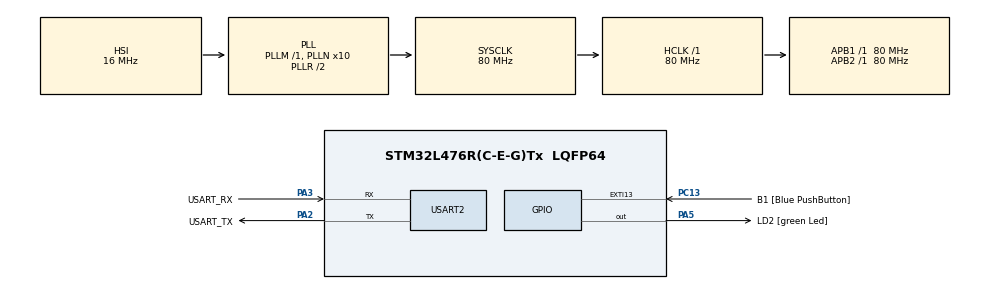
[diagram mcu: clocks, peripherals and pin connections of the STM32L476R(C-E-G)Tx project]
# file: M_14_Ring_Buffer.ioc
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Mcu.Family=STM32L4
Mcu.Name=STM32L476R(C-E-G)Tx
Mcu.Package=LQFP64
NVIC.PriorityGroup=NVIC_PRIORITYGROUP_4
NVIC.USART2_IRQn=true\:0\:0\:false\:false\:true\:true\:true\:true
PA13\ (JTMS-SWDIO).GPIO_Label=TMS
PA13\ (JTMS-SWDIO).Mode=Serial_Wire
PA13\ (JTMS-SWDIO).Signal=SYS_JTMS-SWDIO
PA14\ (JTCK-SWCLK).GPIO_Label=TCK
PA14\ (JTCK-SWCLK).Mode=Serial_Wire
PA14\ (JTCK-SWCLK).Signal=SYS_JTCK-SWCLK
PA2.GPIO_Label=USART_TX
PA2.GPIO_Mode=GPIO_MODE_AF_PP
PA2.GPIO_PuPd=GPIO_NOPULL
PA2.GPIO_Speed=GPIO_SPEED_FREQ_VERY_HIGH
PA2.Mode=Asynchronous
PA2.Signal=USART2_TX
PA3.GPIO_Label=USART_RX
PA3.GPIO_Mode=GPIO_MODE_AF_PP
PA3.GPIO_PuPd=GPIO_NOPULL
PA3.GPIO_Speed=GPIO_SPEED_FREQ_VERY_HIGH
PA3.Mode=Asynchronous
PA3.Signal=USART2_RX
PA5.GPIO_Label=LD2 [green Led]
PA5.GPIO_ModeDefaultOutputPP=GPIO_MODE_OUTPUT_PP
PA5.GPIO_PuPd=GPIO_NOPULL
PA5.GPIO_Speed=GPIO_SPEED_FREQ_LOW
PA5.Signal=GPIO_Output
PB3\ (JTDO-TRACESWO).GPIO_Label=SWO
PB3\ (JTDO-TRACESWO).Signal=SYS_JTDO-SWO
PC13.GPIO_Label=B1 [Blue PushButton]
PC13.GPIO_ModeDefaultEXTI=GPIO_MODE_IT_FALLING
PC13.GPIO_PuPd=GPIO_NOPULL
PC13.Signal=GPXTI13
PC14-OSC32_IN\ (PC14).Mode=LSE-External-Oscillator
PC14-OSC32_IN\ (PC14).Signal=RCC_OSC32_IN
PC15-OSC32_OUT\ (PC15).Mode=LSE-External-Oscillator
PC15-OSC32_OUT\ (PC15).Signal=RCC_OSC32_OUT
PH0-OSC_IN\ (PH0).Signal=RCC_OSC_IN
PH1-OSC_OUT\ (PH1).Signal=RCC_OSC_OUT
ProjectManager.HeapSize=0x200
ProjectManager.StackSize=0x400
ProjectManager.TargetToolchain=STM32CubeIDE
RCC.ADCFreq_Value=64000000
RCC.AHBFreq_Value=80000000
RCC.APB1Freq_Value=80000000
RCC.APB1TimFreq_Value=80000000
RCC.APB2Freq_Value=80000000
RCC.APB2TimFreq_Value=80000000
RCC.CortexFreq_Value=80000000
RCC.HCLKFreq_Value=80000000
RCC.HSE_VALUE=8000000
RCC.HSI_VALUE=16000000
RCC.MSI_VALUE=4000000
RCC.PLLN=10
RCC.PLLSourceVirtual=RCC_PLLSOURCE_HSI
RCC.PREFETCH_ENABLE=1
RCC.SYSCLKFreq_VALUE=80000000
RCC.SYSCLKSource=RCC_SYSCLKSOURCE_PLLCLK
RCC.USBFreq_Value=64000000
RCC.VCOOutputFreq_Value=160000000
USART2.VirtualMode-Asynchronous=VM_ASYNC
board=NUCLEO-L476RG

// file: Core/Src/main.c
/* USER CODE BEGIN Header */
/**
  ******************************************************************************
  * @file           : main.c
  * @brief          : Main program body
  ******************************************************************************
  * @attention
  *
  * Copyright (c) 2023 STMicroelectronics.
  * All rights reserved.
  *
  * This software is licensed under terms that can be found in the LICENSE file
  * in the root directory of this software component.
  * If no LICENSE file comes with this software, it is provided AS-IS.
  *
  ******************************************************************************
  */
/* USER CODE END Header */
#include "main.h"

/* USER CODE BEGIN Includes */
#include <stdio.h>

// Paso 0: Incluimos la librería de ring buffer
#include "ring_buffer.h"

/* USER CODE END Includes */

UART_HandleTypeDef huart2;

/* USER CODE BEGIN PV */

// Paso 1: Creamos la variable ring_buffer y la variable de recepción por UART
uint8_t rx_buffer[16];
ring_buffer_t ring_buffer_uart_rx;
uint8_t rx_data;

/* USER CODE END PV */

void SystemClock_Config(void);
static void MX_GPIO_Init(void);
static void MX_USART2_UART_Init(void);

/* USER CODE BEGIN 0 */

// Paso 0: Incorporamos la función para transmitir por el UART 2
int _write(int file, char *ptr, int len)
{
  HAL_UART_Transmit(&huart2, (uint8_t *)ptr, len, HAL_MAX_DELAY);
  return len;
}

// Paso 2: Implementamos el Callback de la recepción por UART
void HAL_UART_RxCpltCallback(UART_HandleTypeDef *huart)
{
	// Paso 5: Agreagamos los datos que recibimos por UART al Ring buffer
	ring_buffer_put(&ring_buffer_uart_rx, rx_data);

	// Volvemos a recibir por interrupción de UART
	HAL_UART_Receive_IT(&huart2, &rx_data, 1);
}

/* USER CODE END 0 */

int main(void)
{

  /* MCU Configuration--------------------------------------------------------*/

  /* Reset of all peripherals, Initializes the Flash interface and the Systick. */
  HAL_Init();

  /* Configure the system clock */
  SystemClock_Config();

  /* Initialize all configured peripherals */
  MX_GPIO_Init();
  MX_USART2_UART_Init();
  /* USER CODE BEGIN 2 */

  // Paso 3: Inicializamos nuestro ring buffer
  ring_buffer_init(&ring_buffer_uart_rx, rx_buffer, 16);

  // Paso 4: Iniciamos la recepción de UART por interrupciones
  HAL_UART_Receive_IT(&huart2, &rx_data, 1);

  /* USER CODE END 2 */

  /* Infinite loop */
  /* USER CODE BEGIN WHILE */
  while (1)
  {
	  /*********************************************************DEMOSTRACIÓN 2***********************************************************/
	   uint16_t size = ring_buffer_size(&ring_buffer_uart_rx);
	   printf("El tamaño del Ring buffer es: %d\r\n", size);
	  if (size != 0) {
		  uint8_t rx_message[size + 1];
		  for (uint16_t idx = 0; idx < size; idx++) {
			  ring_buffer_get(&ring_buffer_uart_rx, &rx_message[idx]);
		  }
		  rx_message[size] = 0;
		  printf("Rec: %s\r\n", rx_message);
	  }

	  // Esperamos un segundo
	  HAL_Delay(1000);

	  /**********************************************************DEMOSTRACIÓN 1************************************************************
	  uint8_t data;

	  while(ring_buffer_get(&ring_buffer_uart_rx,&data) != 0){
		  printf("Rec: %c\r\n",data);
	  }

	  // Esperamos un segundo
	  HAL_Delay(1000);
	  */

    /* USER CODE END WHILE */

  }
}

void SystemClock_Config(void)
{
  RCC_OscInitTypeDef RCC_OscInitStruct = {0};
  RCC_ClkInitTypeDef RCC_ClkInitStruct = {0};

  /** Configure the main internal regulator output voltage
  */
  if (HAL_PWREx_ControlVoltageScaling(PWR_REGULATOR_VOLTAGE_SCALE1) != HAL_OK)
  {
    Error_Handler();
  }

  /** Initializes the RCC Oscillators according to the specified parameters
  * in the RCC_OscInitTypeDef structure.
  */
  RCC_OscInitStruct.OscillatorType = RCC_OSCILLATORTYPE_HSI;
  RCC_OscInitStruct.HSIState = RCC_HSI_ON;
  RCC_OscInitStruct.HSICalibrationValue = RCC_HSICALIBRATION_DEFAULT;
  RCC_OscInitStruct.PLL.PLLState = RCC_PLL_ON;
  RCC_OscInitStruct.PLL.PLLSource = RCC_PLLSOURCE_HSI;
  RCC_OscInitStruct.PLL.PLLM = 1;
  RCC_OscInitStruct.PLL.PLLN = 10;
  RCC_OscInitStruct.PLL.PLLP = RCC_PLLP_DIV7;
  RCC_OscInitStruct.PLL.PLLQ = RCC_PLLQ_DIV2;
  RCC_OscInitStruct.PLL.PLLR = RCC_PLLR_DIV2;
  if (HAL_RCC_OscConfig(&RCC_OscInitStruct) != HAL_OK)
  {
    Error_Handler();
  }

  /** Initializes the CPU, AHB and APB buses clocks
  */
  RCC_ClkInitStruct.ClockType = RCC_CLOCKTYPE_HCLK|RCC_CLOCKTYPE_SYSCLK
                              |RCC_CLOCKTYPE_PCLK1|RCC_CLOCKTYPE_PCLK2;
  RCC_ClkInitStruct.SYSCLKSource = RCC_SYSCLKSOURCE_PLLCLK;
  RCC_ClkInitStruct.AHBCLKDivider = RCC_SYSCLK_DIV1;
  RCC_ClkInitStruct.APB1CLKDivider = RCC_HCLK_DIV1;
  RCC_ClkInitStruct.APB2CLKDivider = RCC_HCLK_DIV1;

  if (HAL_RCC_ClockConfig(&RCC_ClkInitStruct, FLASH_LATENCY_4) != HAL_OK)
  {
    Error_Handler();
  }
}

static void MX_USART2_UART_Init(void)
{

  huart2.Instance = USART2;
  huart2.Init.BaudRate = 115200;
  huart2.Init.WordLength = UART_WORDLENGTH_8B;
  huart2.Init.StopBits = UART_STOPBITS_1;
  huart2.Init.Parity = UART_PARITY_NONE;
  huart2.Init.Mode = UART_MODE_TX_RX;
  huart2.Init.HwFlowCtl = UART_HWCONTROL_NONE;
  huart2.Init.OverSampling = UART_OVERSAMPLING_16;
  huart2.Init.OneBitSampling = UART_ONE_BIT_SAMPLE_DISABLE;
  huart2.AdvancedInit.AdvFeatureInit = UART_ADVFEATURE_NO_INIT;
  if (HAL_UART_Init(&huart2) != HAL_OK)
  {
    Error_Handler();
  }

}

static void MX_GPIO_Init(void)
{
  GPIO_InitTypeDef GPIO_InitStruct = {0};

  /* GPIO Ports Clock Enable */
  __HAL_RCC_GPIOC_CLK_ENABLE();
  __HAL_RCC_GPIOH_CLK_ENABLE();
  __HAL_RCC_GPIOA_CLK_ENABLE();
  __HAL_RCC_GPIOB_CLK_ENABLE();

  /*Configure GPIO pin Output Level */
  HAL_GPIO_WritePin(LD2_GPIO_Port, LD2_Pin, GPIO_PIN_RESET);

  /*Configure GPIO pin : B1_Pin */
  GPIO_InitStruct.Pin = B1_Pin;
  GPIO_InitStruct.Mode = GPIO_MODE_IT_FALLING;
  GPIO_InitStruct.Pull = GPIO_NOPULL;
  HAL_GPIO_Init(B1_GPIO_Port, &GPIO_InitStruct);

  /*Configure GPIO pin : LD2_Pin */
  GPIO_InitStruct.Pin = LD2_Pin;
  GPIO_InitStruct.Mode = GPIO_MODE_OUTPUT_PP;
  GPIO_InitStruct.Pull = GPIO_NOPULL;
  GPIO_InitStruct.Speed = GPIO_SPEED_FREQ_LOW;
  HAL_GPIO_Init(LD2_GPIO_Port, &GPIO_InitStruct);

}

void Error_Handler(void)
{
  __disable_irq();
  while (1)
  {
  }
}
